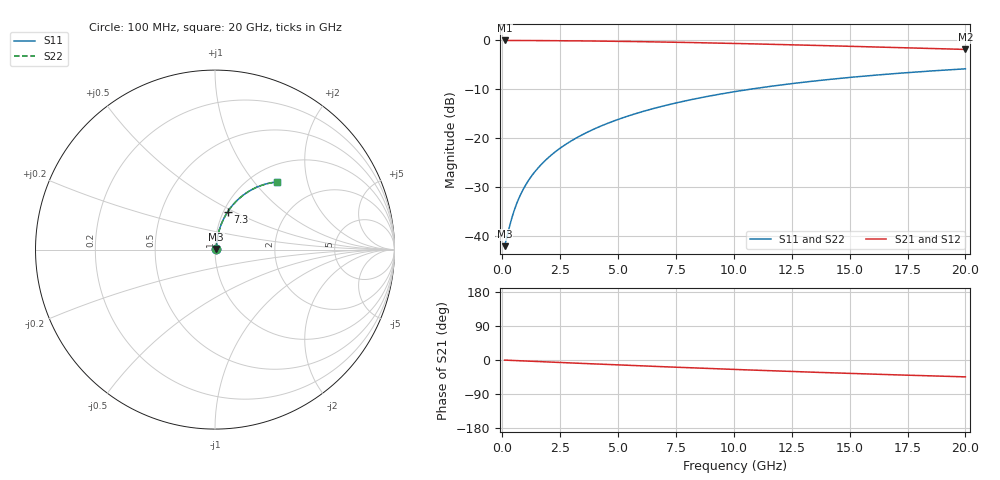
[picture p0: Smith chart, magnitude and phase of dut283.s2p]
! Touchstone file exported from HFSS 2024.1.0
!  File:  C:/UserFiles/LocalFiles/RDL_TSV_Batchsim/temp_RDL_bottom_283_1778703094.aedt
!  Generated:  04:13:57 AM May 14, 2026
!  Design:  RDL_bottom
!  Project:  temp_RDL_bottom_283_1778703094
!  Setup:  Setup1
!  Solution:  Sweep
! Variables:
!  dtsv = 10.80580581um
!  hbump = 3um
!  htsv = 88.37um
!  ldown = 564.71um
!  lrdl = 100um
!  p = 40
!  p1 = 45.64um
!  rhole = 1um
!  t = 450um
!  tdown = 2.64um
!  trdl = 3.915915916um
!  wdown = 10.58um
!  wrdl = 20um
# GHz S MA R 50.000000
! Terminal data exported
! Port[1] = RDL1_T1
! Port[2] = RDL1_T2
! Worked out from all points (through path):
!   200 points, 100 MHz to 20 GHz, reference 50 ohm
!   highest |S21| = -0.06 dB at 100 MHz (marker M1); lowest = -1.9 dB at 20 GHz (marker M2)
!   group delay of S21, straight-line fit = 6.2 ps
!   lowest |S11| = -42.1 dB at 100 MHz (marker M3), VSWR 1.02, Z = 50.7 + j0.329 ohm
!   |S11| at or under -10 dB: start of sweep to 10.74 GHz
!   |S22| runs from -42.1 to -5.9 dB; largest |S21 - S12| = 3.2e-15
!   S11 on the Smith chart (normalised r, x): 100 MHz: 1.01, +0.01; 7.3 GHz: 1.05, +0.47; 20 GHz: 1.29, +1.31
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0.1  0.007883 24.3  0.9928 -0.3  0.9928 -0.3  0.007883 24.3
! Gamma 0 0 0 0
! Port Impedance 50 0 50 0
0.4  0.01494 59.6  0.9925 -1.1  0.9925 -1.1  0.01494 59.6
0.5  0.01783 64.2  0.9924 -1.3  0.9924 -1.3  0.01783 64.2
0.6  0.0208 67.4  0.9922 -1.6  0.9922 -1.6  0.0208 67.4
0.7  0.02381 69.8  0.992 -1.9  0.992 -1.9  0.02381 69.7
0.9  0.02988 72.9  0.9916 -2.4  0.9916 -2.4  0.02988 72.9
1.2  0.03903 75.5  0.9909 -3.2  0.9909 -3.2  0.03903 75.5
1.4  0.04515 76.6  0.9904 -3.7  0.9904 -3.7  0.04515 76.5
1.7  0.05435 77.5  0.9896 -4.5  0.9896 -4.5  0.05435 77.5
2.2  0.06972 78.2  0.9879 -5.8  0.9879 -5.8  0.06972 78.2
2.8  0.08815 78.3  0.9856 -7.3  0.9856 -7.3  0.08815 78.2
3.5  0.1096 77.7  0.9822 -9.1  0.9822 -9.1  0.1096 77.7
4.2  0.1309 76.9  0.9782 -10.9  0.9782 -10.9  0.1309 76.8
5  0.1551 75.6  0.9729 -12.9  0.9729 -12.9  0.1551 75.6
5.9  0.1819 74.1  0.966 -15.2  0.966 -15.2  0.1819 74.0
6.8  0.2083 72.4  0.9583 -17.4  0.9583 -17.4  0.2083 72.4
7.3  0.2227 71.4  0.9537 -18.6  0.9537 -18.6  0.2227 71.4
8.6  0.2593 68.9  0.9409 -21.6  0.9409 -21.6  0.2592 68.8
10.1  0.2997 65.9  0.9246 -25.1  0.9246 -25.1  0.2996 65.9
13.4  0.3809 59.4  0.8856 -32.1  0.8856 -32.1  0.3808 59.4
16.7  0.4508 53.3  0.8446 -38.6  0.8446 -38.6  0.4506 53.3
20  0.5096 47.7  0.8042 -44.5  0.8042 -44.5  0.5095 47.7
